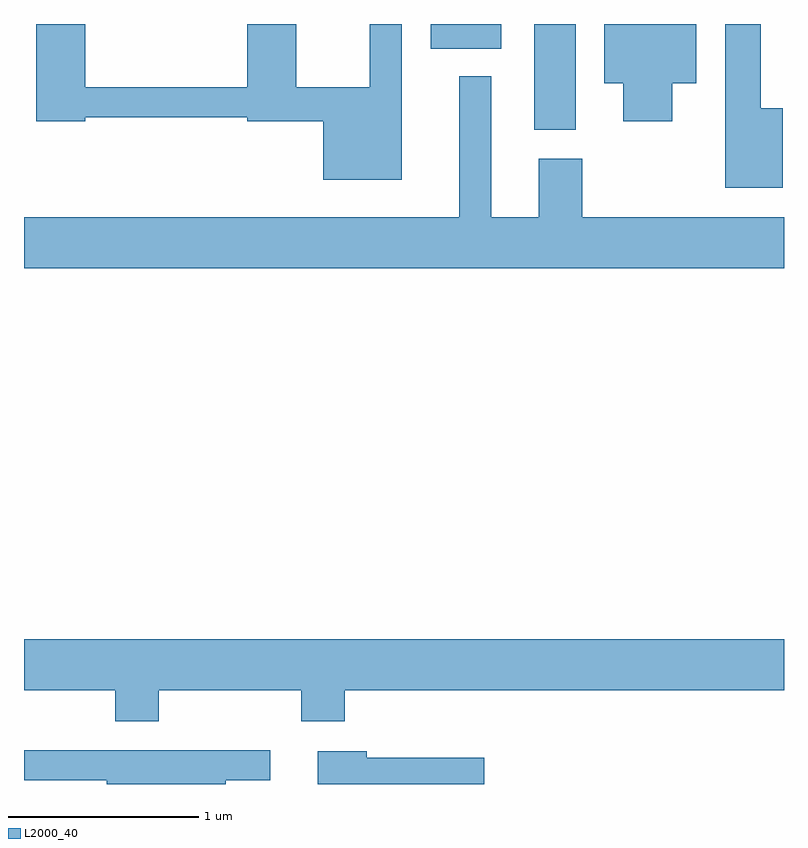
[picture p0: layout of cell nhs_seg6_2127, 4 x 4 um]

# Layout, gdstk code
import gdstk
lib = gdstk.Library(unit=1e-6, precision=1e-09)
def R(c, l, rs):  # rectangles x0, y0, x1, y1
    for r in rs: c.add(gdstk.rectangle(r[:2], r[2:], *l))
def P(c, l, *ps):  # polygons
    for p in ps: c.add(gdstk.Polygon(p, *l))
L2000_40 = (2000, 40)

nhs_seg6_2127 = lib.new_cell('nhs_seg6_2127')
R(nhs_seg6_2127, L2000_40, [(252.296,1599.606,252.514,1600.162), (251.751,1600.031,252.124,1600.162)])
P(nhs_seg6_2127, L2000_40, [(253.024,1599.851),(253.149,1599.851),(253.149,1600.162),(252.666,1600.162),(252.666,1599.851),(252.766,1599.851),(252.766,1599.651),(253.024,1599.651)],
  [(253.604,1599.719),(253.489,1599.719),(253.489,1600.162),(253.301,1600.162),(253.301,1599.301),(253.604,1599.301)],
  [(251.599,1600.162),(251.431,1600.162),(251.431,1599.829),(251.044,1599.829),(251.044,1600.162),(250.786,1600.162),(250.786,1599.829),(249.934,1599.829),(249.934,1600.162),(249.676,1600.162),(249.676,1599.651),(249.934,1599.651),(249.934,1599.671),(250.786,1599.671),(250.786,1599.651),(251.186,1599.651),(251.186,1599.341),(251.599,1599.341)],
  [(253.611,1599.144),(252.549,1599.144),(252.549,1599.454),(252.321,1599.454),(252.321,1599.144),(252.069,1599.144),(252.069,1599.888),(251.901,1599.888),(251.901,1599.144),(249.611,1599.144),(249.611,1598.876),(253.611,1598.876)],
  [(250.319,1596.656),(251.071,1596.656),(251.071,1596.491),(251.299,1596.491),(251.299,1596.656),(253.611,1596.656),(253.611,1596.924),(249.611,1596.924),(249.611,1596.656),(250.091,1596.656),(250.091,1596.491),(250.319,1596.491)],
  [(250.674,1596.181),(250.908,1596.181),(250.908,1596.339),(249.611,1596.339),(249.611,1596.181),(250.046,1596.181),(250.046,1596.162),(250.674,1596.162)],
  [(252.034,1596.299),(251.414,1596.299),(251.414,1596.334),(251.156,1596.334),(251.156,1596.162),(252.034,1596.162)])

lib.write_gds('nhs_seg6_2127.gds')
